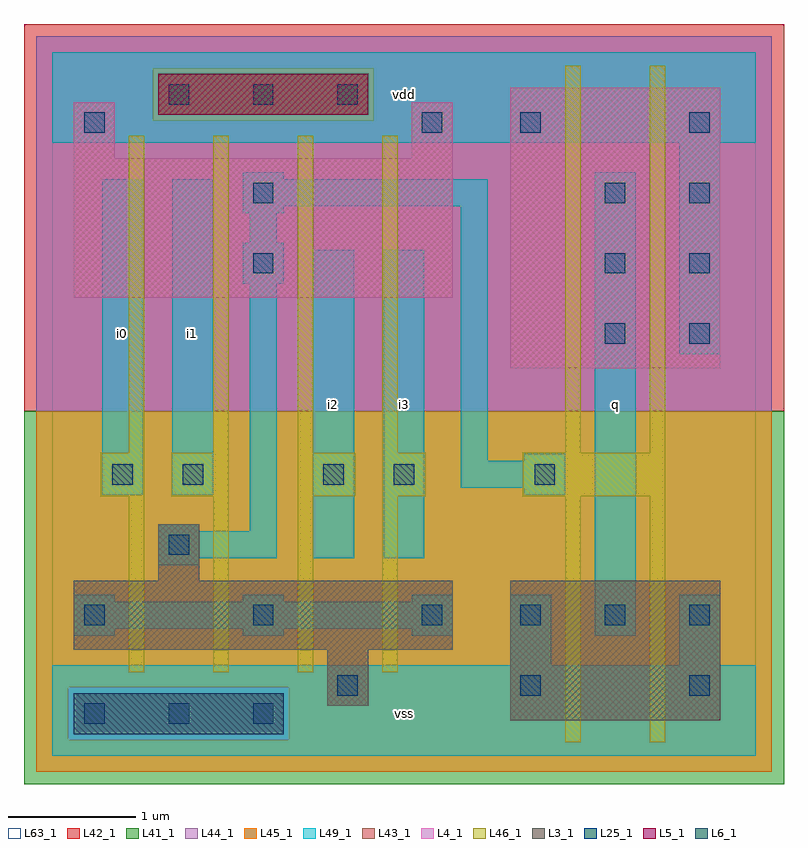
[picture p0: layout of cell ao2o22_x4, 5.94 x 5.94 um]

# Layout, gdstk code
import gdstk
lib = gdstk.Library(unit=1e-6, precision=1e-09)
def R(c, l, rs):  # rectangles x0, y0, x1, y1
    for r in rs: c.add(gdstk.rectangle(r[:2], r[2:], *l))
def A(c, l, x, y, w, h, nx, ny, dx, dy):  # array of equal rectangles
    R(c, l, [(x+i*dx, y+j*dy, x+i*dx+w, y+j*dy+h) for i in range(nx) for j in range(ny)])
L3_1 = (3, 1)
L4_1 = (4, 1)
L5_1 = (5, 1)
L6_1 = (6, 1)
L25_1 = (25, 1)
L41_1 = (41, 1)
L42_1 = (42, 1)
L43_1 = (43, 1)
L44_1 = (44, 1)
L45_1 = (45, 1)
L46_1 = (46, 1)
L49_1 = (49, 1)
L63_1 = (63, 1)

ao2o22_x4 = lib.new_cell('ao2o22_x4')
R(ao2o22_x4, L3_1, [(3.58,0.28,5.22,1.37), (2.15,0.39,2.47,0.83), (0.17,0.83,3.13,1.37), (0.83,1.37,1.15,1.81)])
R(ao2o22_x4, L4_1, [(3.58,3.03,5.22,5.22), (0.17,3.58,3.13,4.67), (0.17,4.67,0.49,5.11), (2.81,4.67,3.13,5.11)])
R(ao2o22_x4, L5_1, [(0.83,5.01,2.47,5.33)])
R(ao2o22_x4, L6_1, [(0.17,0.17,1.81,0.49)])
A(ao2o22_x4, L25_1, 0.25, 0.25, 0.16, 0.16, 3, 1, 0.66, 0)
A(ao2o22_x4, L25_1, 0.25, 1.02, 0.16, 0.16, 3, 1, 1.32, 0)
A(ao2o22_x4, L25_1, 3.66, 1.02, 0.16, 0.16, 3, 1, 0.66, 0)
A(ao2o22_x4, L25_1, 4.32, 3.22, 0.16, 0.16, 1, 3, 0, 0.55)
A(ao2o22_x4, L25_1, 4.98, 3.22, 0.16, 0.16, 1, 4, 0, 0.55)
A(ao2o22_x4, L25_1, 0.91, 5.09, 0.16, 0.16, 3, 1, 0.66, 0)
R(ao2o22_x4, L25_1, [(2.23,0.47,2.39,0.63), (3.66,0.47,3.82,0.63), (4.98,0.47,5.14,0.63), (0.91,1.57,1.07,1.73), (0.47,2.12,0.63,2.28), (1.02,2.12,1.18,2.28), (2.12,2.12,2.28,2.28), (2.67,2.12,2.83,2.28), (3.77,2.12,3.93,2.28), (1.57,3.77,1.73,3.93), (1.57,4.32,1.73,4.48), (0.25,4.87,0.41,5.03), (2.89,4.87,3.05,5.03), (3.66,4.87,3.82,5.03)])
R(ao2o22_x4, L41_1, [(-0.22,-0.22,5.72,2.695)])
R(ao2o22_x4, L42_1, [(-0.22,2.695,5.72,5.72)])
R(ao2o22_x4, L43_1, [(0.17,0.17,1.81,0.49), (3.58,0.28,5.22,1.37), (2.15,0.39,2.47,0.83), (0.17,0.83,3.13,1.37), (0.83,1.37,1.15,1.81), (3.58,3.03,5.22,5.22), (0.17,3.58,3.13,4.67), (0.17,4.67,0.49,5.11), (2.81,4.67,3.13,5.11), (0.83,5.01,2.47,5.33)])
R(ao2o22_x4, L44_1, [(0.125,0.125,1.855,0.535), (-0.125,2.695,5.625,4.965), (-0.125,4.965,0.785,5.375), (2.515,4.965,5.625,5.375), (-0.125,5.375,5.625,5.625)])
R(ao2o22_x4, L45_1, [(-0.125,-0.125,5.625,0.125), (-0.125,0.125,0.125,0.535), (1.855,0.125,5.625,0.535), (-0.125,0.535,5.625,2.695), (0.785,4.965,2.515,5.375)])
A(ao2o22_x4, L46_1, 0.6, 0.655, 0.12, 1.375, 4, 1, 0.66, 0)
A(ao2o22_x4, L46_1, 0.6, 2.37, 0.12, 2.475, 4, 1, 0.66, 0)
R(ao2o22_x4, L46_1, [(4.01,0.105,4.13,2.03), (4.67,0.105,4.79,2.03), (0.38,2.03,0.72,2.37), (0.93,2.03,1.38,2.37), (1.92,2.03,2.37,2.37), (2.58,2.03,2.92,2.37), (3.68,2.03,4.79,2.37), (4.01,2.37,4.13,5.395), (4.67,2.37,4.79,5.395)])
A(ao2o22_x4, L49_1, 0.17, 0.94, 0.32, 0.055, 3, 2, 1.32, 0.265)
R(ao2o22_x4, L49_1, [(0,0,5.5,0.71), (3.58,0.71,3.9,1.26), (4.9,0.71,5.22,1.26), (4.24,0.94,4.56,4.56), (0.17,0.995,3.13,1.205), (0.83,1.49,1.15,1.545), (0.83,1.545,1.755,1.755), (2.04,1.545,2.36,3.955), (2.59,1.545,2.91,3.955), (0.83,1.755,1.15,1.81), (1.545,1.755,1.755,3.69), (0.39,2.04,0.71,4.505), (0.94,2.04,1.26,4.505), (3.69,2.04,4.01,2.095), (3.195,2.095,4.01,2.305), (3.195,2.305,3.405,4.295), (3.69,2.305,4.01,2.36), (4.9,3.14,5.22,4.79), (1.49,3.69,1.81,4.01), (1.545,4.01,1.755,4.24), (1.49,4.24,1.81,4.295), (1.49,4.295,3.405,4.505), (1.49,4.505,1.81,4.56), (0,4.79,5.5,5.5)])
R(ao2o22_x4, L63_1, [(0,0,5.5,5.5)])
ao2o22_x4.add(gdstk.Label('i1', (1.1,3.3), layer=49, texttype=1))
ao2o22_x4.add(gdstk.Label('i0', (0.55,3.3), layer=49, texttype=1))
ao2o22_x4.add(gdstk.Label('i1', (1.1,3.3), layer=49, texttype=1))
ao2o22_x4.add(gdstk.Label('i0', (0.55,3.3), layer=49, texttype=1))
ao2o22_x4.add(gdstk.Label('i2', (2.2,2.75), layer=49, texttype=1))
ao2o22_x4.add(gdstk.Label('i2', (2.2,2.75), layer=49, texttype=1))
ao2o22_x4.add(gdstk.Label('vss', (2.75,0.33), layer=49, texttype=1))
ao2o22_x4.add(gdstk.Label('vss', (2.75,0.33), layer=49, texttype=1))
ao2o22_x4.add(gdstk.Label('i3', (2.75,2.75), layer=49, texttype=1))
ao2o22_x4.add(gdstk.Label('i3', (2.75,2.75), layer=49, texttype=1))
ao2o22_x4.add(gdstk.Label('vdd', (2.75,5.17), layer=49, texttype=1))
ao2o22_x4.add(gdstk.Label('vdd', (2.75,5.17), layer=49, texttype=1))
ao2o22_x4.add(gdstk.Label('q', (4.4,2.75), layer=49, texttype=1))
ao2o22_x4.add(gdstk.Label('q', (4.4,2.75), layer=49, texttype=1))

lib.write_gds('ao2o22_x4.gds')
